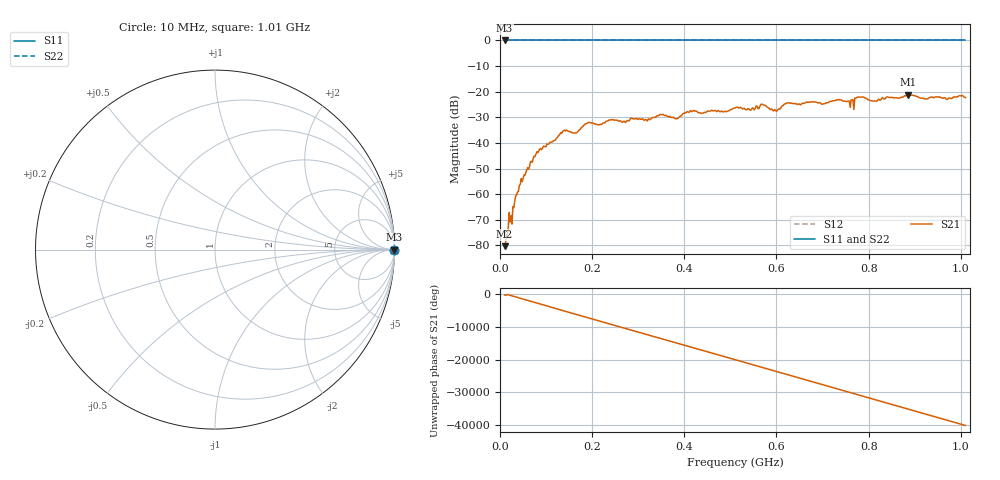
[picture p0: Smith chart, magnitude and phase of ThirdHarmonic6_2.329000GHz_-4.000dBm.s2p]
! 8/17/2025 3:21:27 AM
! C:\ANRITSUVNA\TEMP\TEMP.S2P
! CHANNEL.1
! TR.MEASUREMENT
! RAW.DATA
! RF.CORRECTION.OFF
! AVERAGING.OFF
! IF.BANDWIDTH: 5KHZ
! SWEEPTYPE:  FREQ.SWEEP(Linear)
! Reference Plane Port Info
! PORT:  PORT1  PORT2
! DISTANCE:  0  m  0  m
! TIME:  0  s  0  s
! PHASE.OFFSET:  0  deg.  0  deg.
! LOSS:  0  dB  0  dB
! REF.LOSS:  0  dB  0  dB
! REF.FREQ:  0  Hz  0  Hz
! Power Info
! POWER:  -20  dBm  -20  dBm
! EFF.POWER:  -20  dBm  -20  dBm
! SOURCE.ATTEN:  0  dB  0  dB
! TEST.ATTEN:  0  dB  0  dB
# GHZ S RI R 50.0
! FREQ.GHZ  S11RE  S11IM  S21RE  S21IM  S12RE  S12IM  S22RE  S22IM
!; PortSelection: Port_12
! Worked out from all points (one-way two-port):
!   501 points, 10 MHz to 1.01 GHz, reference 50 ohm
!   highest |S21| = -21.17 dB at 886 MHz (marker M1); lowest = -80.3 dB at 10 MHz (marker M2)
!   lowest |S11| = 0.0 dB at 10 MHz (marker M3)
!   |S11| at or under -10 dB: nowhere
!   |S22| runs from 0.0 to 0.0 dB; largest |S21 - S12| = 1.1
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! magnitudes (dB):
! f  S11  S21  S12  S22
! 10 MHz  0.0  -80.3  0.0  0.0
! 42 MHz  0.0  -56.6  0.0  0.0
! 76 MHz  0.0  -45.3  0.0  0.0
! 136 MHz  0.0  -35.5  0.0  0.0
! 164 MHz  0.0  -36.1  0.0  0.0
! 178 MHz  0.0  -33.8  0.0  0.0
! 192 MHz  0.0  -32.1  0.0  0.0
! 316 MHz  0.0  -30.8  0.0  0.0
! 344 MHz  0.0  -29.4  0.0  0.0
! 384 MHz  0.0  -30.5  0.0  0.0
! 416 MHz  0.0  -27.7  0.0  0.0
! 510 MHz  0.0  -26.4  0.0  0.0
! 570 MHz  0.0  -25.0  0.0  0.0
! 598 MHz  0.0  -27.3  0.0  0.0
! 622 MHz  0.0  -24.6  0.0  0.0
! 678 MHz  0.0  -24.0  0.0  0.0
! 764 MHz  0.0  -23.2  0.0  0.0
! 778 MHz  0.0  -22.1  0.0  0.0
! 814 MHz  0.0  -23.6  0.0  0.0
! 844 MHz  0.0  -22.2  0.0  0.0
! 886 MHz  0.0  -21.2  0.0  0.0
! 1.01 GHz  0.0  -22.3  0.0  0.0
